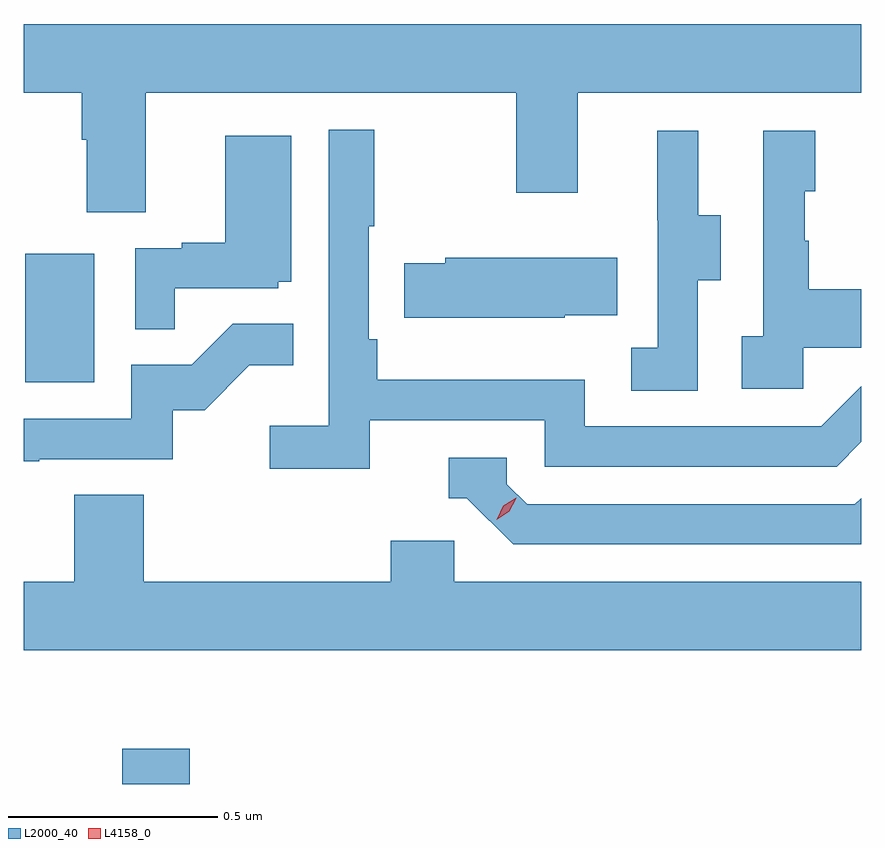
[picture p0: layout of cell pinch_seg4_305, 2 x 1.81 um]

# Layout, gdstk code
import gdstk
lib = gdstk.Library(unit=1e-6, precision=1e-09)
def R(c, l, rs):  # rectangles x0, y0, x1, y1
    for r in rs: c.add(gdstk.rectangle(r[:2], r[2:], *l))
def P(c, l, *ps):  # polygons
    for p in ps: c.add(gdstk.Polygon(p, *l))
L2000_40 = (2000, 40)
L4158_0 = (4158, 0)

pinch_seg4_305 = lib.new_cell('pinch_seg4_305')
R(pinch_seg4_305, L2000_40, [(936.113,799.165,936.274,799.249), (935.882,800.124,936.046,800.431)])
P(pinch_seg4_305, L2000_40, [(936.169,800.816),(937.054,800.816),(937.054,800.577),(937.201,800.577),(937.201,800.816),(937.878,800.816),(937.878,800.98),(935.878,800.98),(935.878,800.816),(936.017,800.816),(936.017,800.704),(936.029,800.704),(936.029,800.53),(936.169,800.53)],
  [(936.704,800.034),(937.122,800.034),(937.122,799.923),(937.819,799.923),(937.878,799.982),(937.878,800.115),(937.782,800.019),(937.218,800.019),(937.218,800.131),(936.722,800.131),(936.722,800.227),(936.702,800.227),(936.702,800.497),(936.715,800.497),(936.715,800.728),(936.606,800.728),(936.606,800.02),(936.465,800.02),(936.465,799.918),(936.704,799.918)],
  [(937.74,800.207),(937.878,800.207),(937.878,800.347),(937.753,800.347),(937.753,800.462),(937.743,800.462),(937.743,800.58),(937.768,800.58),(937.768,800.725),(937.644,800.725),(937.644,800.234),(937.593,800.234),(937.593,800.109),(937.74,800.109)],
  [(937.488,800.368),(937.543,800.368),(937.543,800.523),(937.489,800.523),(937.489,800.725),(937.391,800.725),(937.391,800.511),(937.392,800.511),(937.392,800.207),(937.329,800.207),(937.329,800.104),(937.488,800.104)],
  [(936.239,800.349),(936.486,800.349),(936.486,800.364),(936.517,800.364),(936.517,800.713),(936.359,800.713),(936.359,800.458),(936.255,800.458),(936.255,800.445),(936.144,800.445),(936.144,800.251),(936.239,800.251)],
  [(937.17,800.285),(937.295,800.285),(937.295,800.422),(936.885,800.422),(936.885,800.409),(936.787,800.409),(936.787,800.279),(937.17,800.279)],
  [(935.915,799.941),(936.234,799.941),(936.234,800.058),(936.31,800.058),(936.417,800.165),(936.521,800.165),(936.521,800.264),(936.377,800.264),(936.279,800.166),(936.135,800.166),(936.135,800.037),(935.878,800.037),(935.878,799.936),(935.915,799.936)],
  [(937.878,799.848),(937.863,799.833),(937.08,799.833),(937.032,799.881),(937.032,799.944),(936.893,799.944),(936.893,799.848),(936.936,799.848),(937.047,799.737),(937.878,799.737)],
  [(937.878,799.648),(936.906,799.648),(936.906,799.746),(936.755,799.746),(936.755,799.648),(936.164,799.648),(936.164,799.856),(935.999,799.856),(935.999,799.648),(935.878,799.648),(935.878,799.484),(937.878,799.484)])
P(pinch_seg4_305, L4158_0, [(937.007,799.796),(937.007,799.796),(937.023,799.829),(937.054,799.849),(937.054,799.849),(937.054,799.848),(937.038,799.816),(937.008,799.796)])

lib.write_gds('pinch_seg4_305.gds')
